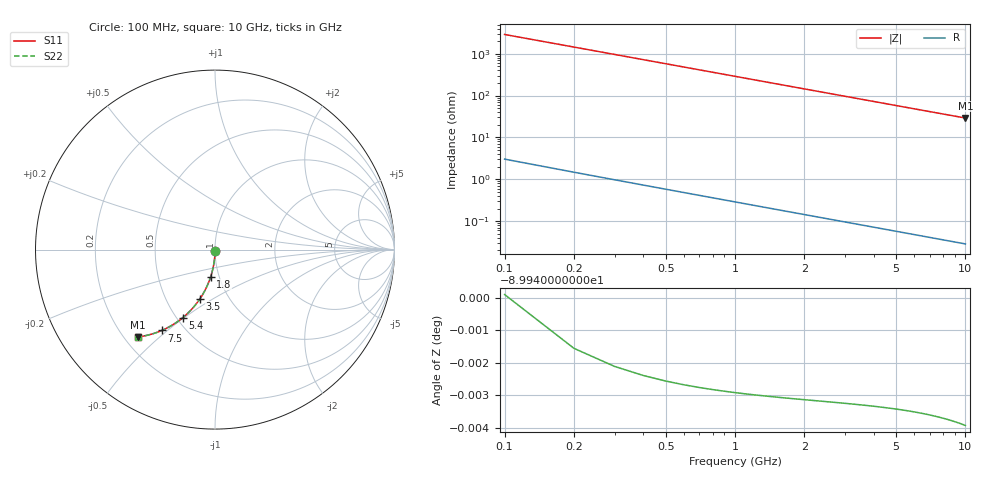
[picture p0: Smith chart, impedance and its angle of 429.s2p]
# Hz S RI R 50.00
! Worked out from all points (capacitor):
!   100 points, 100 MHz to 10 GHz, reference 50 ohm
!   read as one part in shunt: C = 551 fF near 100 MHz
!   lowest |Z| = 29.1 ohm at 10 GHz (marker M1)
!   S11 on the Smith chart (normalised r, x): 100 MHz: 1.00, -0.02; 1.8 GHz: 0.91, -0.28; 3.5 GHz: 0.73, -0.44; 5.4 GHz: 0.54, -0.49; 7.5 GHz: 0.38, -0.48; 10 GHz: 0.26, -0.43
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1e8  -6.64e-05 -0.00858  0.9999 -0.00873  0.9999 -0.00873  -6.64e-05 -0.00858
2e8  -0.000299 -0.0172  0.9997 -0.0175  0.9997 -0.0175  -0.000299 -0.0172
3e8  -0.000682 -0.0257  0.9993 -0.0262  0.9993 -0.0262  -0.000682 -0.0257
4e8  -0.00121 -0.0343  0.9988 -0.0349  0.9988 -0.0349  -0.00121 -0.0343
5e8  -0.00189 -0.0428  0.9981 -0.0436  0.9981 -0.0436  -0.00189 -0.0428
6e8  -0.00272 -0.0513  0.9972 -0.0522  0.9972 -0.0522  -0.00272 -0.0513
8e8  -0.00482 -0.0683  0.9951 -0.0695  0.9951 -0.0695  -0.00482 -0.0683
1.1e9  -0.00905 -0.0935  0.9909 -0.0951  0.9909 -0.0951  -0.00905 -0.0935
1.4e9  -0.0146 -0.1183  0.9854 -0.1204  0.9854 -0.1204  -0.0146 -0.1183
1.8e9  -0.0238 -0.1507  0.9762 -0.1534  0.9762 -0.1534  -0.0238 -0.1507
2.1e9  -0.0321 -0.1743  0.9679 -0.1774  0.9679 -0.1774  -0.0321 -0.1743
2.5e9  -0.0449 -0.2047  0.9551 -0.2084  0.9551 -0.2084  -0.0449 -0.2047
2.9e9  -0.0594 -0.2338  0.9405 -0.2381  0.9405 -0.2381  -0.0594 -0.2338
3.4e9  -0.0798 -0.268  0.9201 -0.2731  0.9201 -0.2731  -0.0798 -0.268
3.5e9  -0.0842 -0.2746  0.9158 -0.2798  0.9158 -0.2798  -0.0842 -0.2746
4.3e9  -0.1218 -0.3233  0.8782 -0.3298  0.8782 -0.3298  -0.1218 -0.3233
5.1e9  -0.1631 -0.3652  0.8368 -0.3729  0.8368 -0.3729  -0.1631 -0.3652
5.4e9  -0.1793 -0.3791  0.8206 -0.3872  0.8206 -0.3872  -0.1793 -0.3791
6.7e9  -0.2515 -0.4283  0.7484 -0.4385  0.7484 -0.4385  -0.2515 -0.4283
7.5e9  -0.2962 -0.4504  0.7037 -0.4619  0.7037 -0.4619  -0.2962 -0.4504
8.4e9  -0.3455 -0.4686  0.6544 -0.4815  0.6544 -0.4815  -0.3455 -0.4686
1e10  -0.4278 -0.4865  0.572 -0.502  0.572 -0.502  -0.4278 -0.4865
